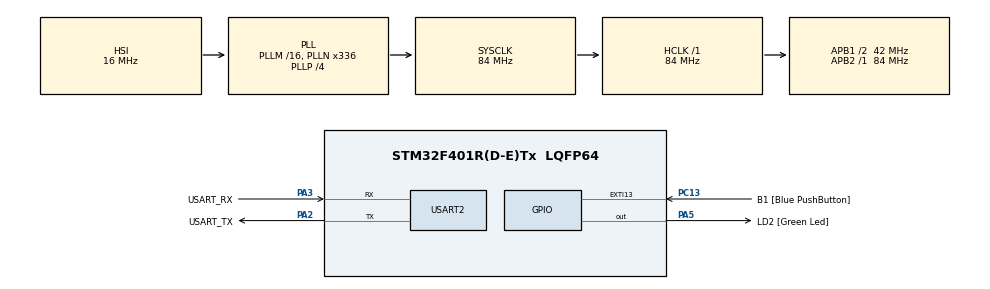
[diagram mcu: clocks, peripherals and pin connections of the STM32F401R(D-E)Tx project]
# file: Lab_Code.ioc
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Mcu.Family=STM32F4
Mcu.Name=STM32F401R(D-E)Tx
Mcu.Package=LQFP64
NVIC.PriorityGroup=NVIC_PRIORITYGROUP_0
PA13.GPIO_Label=TMS
PA13.Mode=Serial_Wire
PA13.Signal=SYS_JTMS-SWDIO
PA14.GPIO_Label=TCK
PA14.Mode=Serial_Wire
PA14.Signal=SYS_JTCK-SWCLK
PA2.GPIO_Label=USART_TX
PA2.GPIO_Mode=GPIO_MODE_AF_PP
PA2.GPIO_PuPd=GPIO_NOPULL
PA2.GPIO_Speed=GPIO_SPEED_FREQ_LOW
PA2.Mode=Asynchronous
PA2.Signal=USART2_TX
PA3.GPIO_Label=USART_RX
PA3.GPIO_Mode=GPIO_MODE_AF_PP
PA3.GPIO_PuPd=GPIO_NOPULL
PA3.GPIO_Speed=GPIO_SPEED_FREQ_LOW
PA3.Mode=Asynchronous
PA3.Signal=USART2_RX
PA5.GPIO_Label=LD2 [Green Led]
PA5.GPIO_Mode=GPIO_MODE_OUTPUT_PP
PA5.GPIO_PuPd=GPIO_NOPULL
PA5.GPIO_Speed=GPIO_SPEED_FREQ_LOW
PA5.Signal=GPIO_Output
PB3.GPIO_Label=SWO
PB3.Signal=SYS_JTDO-SWO
PC13-ANTI_TAMP.GPIO_Label=B1 [Blue PushButton]
PC13-ANTI_TAMP.GPIO_ModeDefaultEXTI=GPIO_MODE_IT_FALLING
PC13-ANTI_TAMP.GPIO_PuPd=GPIO_NOPULL
PC13-ANTI_TAMP.Signal=GPXTI13
PC14-OSC32_IN.Mode=LSE-External-Oscillator
PC14-OSC32_IN.Signal=RCC_OSC32_IN
PC15-OSC32_OUT.Mode=LSE-External-Oscillator
PC15-OSC32_OUT.Signal=RCC_OSC32_OUT
PH0\ -\ OSC_IN.Mode=HSE-External-Clock-Source
PH0\ -\ OSC_IN.Signal=RCC_OSC_IN
PH1\ -\ OSC_OUT.Mode=HSE-External-Clock-Source
PH1\ -\ OSC_OUT.Signal=RCC_OSC_OUT
ProjectManager.HeapSize=0x200
ProjectManager.StackSize=0x400
ProjectManager.TargetToolchain=STM32CubeIDE
RCC.48MHZClocksFreq_Value=48000000
RCC.AHBFreq_Value=84000000
RCC.APB1CLKDivider=RCC_HCLK_DIV2
RCC.APB1Freq_Value=42000000
RCC.APB1TimFreq_Value=84000000
RCC.APB2Freq_Value=84000000
RCC.APB2TimFreq_Value=84000000
RCC.CortexFreq_Value=84000000
RCC.HCLKFreq_Value=84000000
RCC.HSE_VALUE=8000000
RCC.HSI_VALUE=16000000
RCC.PLLN=336
RCC.PLLP=RCC_PLLP_DIV4
RCC.PLLQ=7
RCC.SYSCLKFreq_VALUE=84000000
RCC.SYSCLKSource=RCC_SYSCLKSOURCE_PLLCLK
RCC.VCOOutputFreq_Value=336000000
USART2.VirtualMode=VM_ASYNC
board=NUCLEO-F401RE

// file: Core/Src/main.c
/* USER CODE BEGIN Header */
/**
  ******************************************************************************
  * @file           : main.c
  * @brief          : Main program body
  ******************************************************************************
  * @attention
  *
  * Copyright (c) 2024 STMicroelectronics.
  * All rights reserved.
  *
  * This software is licensed under terms that can be found in the LICENSE file
  * in the root directory of this software component.
  * If no LICENSE file comes with this software, it is provided AS-IS.
  *
  ******************************************************************************
  */
/* USER CODE END Header */
#include "main.h"
#include <stdio.h>

UART_HandleTypeDef huart2;

void SystemClock_Config(void);
static void MX_GPIO_Init(void);
static void MX_USART2_UART_Init(void);

/* USER CODE BEGIN 0 */
int __io_putchar(int ch)
{
HAL_UART_Transmit(&huart2,(uint8_t*)&ch,1,HAL_MAX_DELAY);
return ch;
}

void jumpAssembly(void* fcn)
{
__asm("MOV PC, R0");
}

void print_continuously(){
	while(1){
		printf("Hello, PC\r\n");
	}
}

void print_one(void){
	__asm("SVC #1");
}

void print_two(void){
	__asm("SVC #2");
}

void print_thread1_again(void *args)
{
while(1)
{
printf("Thread 1\r\n");
osYield();
}
}

void print_thread2_again(void *args)
{

while(1)
{
printf("Thread 2\r\n");
osYield();
}
}

void thread_function_1(void *args)
{
	while(1){
		printf("The R0 value is 0x%08x\r\n", args);
		osYield();
	}

}

typedef struct test{
	uint32_t add;
	uint32_t multiply;
}alter_global_var;

uint32_t global_var = 0;
void yielding_thread(void*args){
	alter_global_var  inputs = *(alter_global_var*) args;
	while(1){
		global_var += inputs.add;
		global_var *= inputs.multiply;
      osYield();
	}
}
void pre_emptive_thread(void*args){
	while(1){
			printf("%d\r\n",global_var);
		}
}

/* USER CODE END 0 */

int main(void)
{

  /* MCU Configuration--------------------------------------------------------*/

  /* Reset of all peripherals, Initializes the Flash interface and the Systick. */
  HAL_Init();

  /* Configure the system clock */
  SystemClock_Config();
  /* Initialize all configured peripherals */
  MX_GPIO_Init();
  MX_USART2_UART_Init();
  /* USER CODE BEGIN 2 */
  //char m = 'm';
    //HAL_UART_Transmit(&huart2,&m,1,HAL_MAX_DELAY	);
    //printf("Hello, world!\r\n");
  alter_global_var alter;
  alter.add =5;
  alter.multiply= 2;
  osKernelInitialize();
  //bool a = osCreateThread(print_thread1_again);
  //bool b = osCreateThread(print_thread2_again);
  bool c = osCreateThread(yielding_thread,&alter);
  bool d = osCreateThreadWithDeadline(pre_emptive_thread, 20`00);
  osKernelStart();

   // __set_PSP(PSP_VAL);
  //  __set_CONTROL((uint32_t)2);
  // printf("MSP Init is: %p\r\n",MSP_INIT_VAL);
    //print_continuously();
    //jumpAssembly((void*)print_continuously);
   //print_one();
  //  print_two();
  /* USER CODE END 2 */

  /* Infinite loop */
  while (1)
  {

  }
}

void SystemClock_Config(void)
{
  RCC_OscInitTypeDef RCC_OscInitStruct = {0};
  RCC_ClkInitTypeDef RCC_ClkInitStruct = {0};

  /** Configure the main internal regulator output voltage
  */
  __HAL_RCC_PWR_CLK_ENABLE();
  __HAL_PWR_VOLTAGESCALING_CONFIG(PWR_REGULATOR_VOLTAGE_SCALE2);

  /** Initializes the RCC Oscillators according to the specified parameters
  * in the RCC_OscInitTypeDef structure.
  */
  RCC_OscInitStruct.OscillatorType = RCC_OSCILLATORTYPE_HSI;
  RCC_OscInitStruct.HSIState = RCC_HSI_ON;
  RCC_OscInitStruct.HSICalibrationValue = RCC_HSICALIBRATION_DEFAULT;
  RCC_OscInitStruct.PLL.PLLState = RCC_PLL_ON;
  RCC_OscInitStruct.PLL.PLLSource = RCC_PLLSOURCE_HSI;
  RCC_OscInitStruct.PLL.PLLM = 16;
  RCC_OscInitStruct.PLL.PLLN = 336;
  RCC_OscInitStruct.PLL.PLLP = RCC_PLLP_DIV4;
  RCC_OscInitStruct.PLL.PLLQ = 7;
  if (HAL_RCC_OscConfig(&RCC_OscInitStruct) != HAL_OK)
  {
    Error_Handler();
  }

  /** Initializes the CPU, AHB and APB buses clocks
  */
  RCC_ClkInitStruct.ClockType = RCC_CLOCKTYPE_HCLK|RCC_CLOCKTYPE_SYSCLK
                              |RCC_CLOCKTYPE_PCLK1|RCC_CLOCKTYPE_PCLK2;
  RCC_ClkInitStruct.SYSCLKSource = RCC_SYSCLKSOURCE_PLLCLK;
  RCC_ClkInitStruct.AHBCLKDivider = RCC_SYSCLK_DIV1;
  RCC_ClkInitStruct.APB1CLKDivider = RCC_HCLK_DIV2;
  RCC_ClkInitStruct.APB2CLKDivider = RCC_HCLK_DIV1;

  if (HAL_RCC_ClockConfig(&RCC_ClkInitStruct, FLASH_LATENCY_2) != HAL_OK)
  {
    Error_Handler();
  }
}

static void MX_USART2_UART_Init(void)
{

  huart2.Instance = USART2;
  huart2.Init.BaudRate = 115200;
  huart2.Init.WordLength = UART_WORDLENGTH_8B;
  huart2.Init.StopBits = UART_STOPBITS_1;
  huart2.Init.Parity = UART_PARITY_NONE;
  huart2.Init.Mode = UART_MODE_TX_RX;
  huart2.Init.HwFlowCtl = UART_HWCONTROL_NONE;
  huart2.Init.OverSampling = UART_OVERSAMPLING_16;
  if (HAL_UART_Init(&huart2) != HAL_OK)
  {
    Error_Handler();
  }

}

static void MX_GPIO_Init(void)
{
  GPIO_InitTypeDef GPIO_InitStruct = {0};

  /* GPIO Ports Clock Enable */
  __HAL_RCC_GPIOC_CLK_ENABLE();
  __HAL_RCC_GPIOH_CLK_ENABLE();
  __HAL_RCC_GPIOA_CLK_ENABLE();
  __HAL_RCC_GPIOB_CLK_ENABLE();

  /*Configure GPIO pin Output Level */
  HAL_GPIO_WritePin(LD2_GPIO_Port, LD2_Pin, GPIO_PIN_RESET);

  /*Configure GPIO pin : B1_Pin */
  GPIO_InitStruct.Pin = B1_Pin;
  GPIO_InitStruct.Mode = GPIO_MODE_IT_FALLING;
  GPIO_InitStruct.Pull = GPIO_NOPULL;
  HAL_GPIO_Init(B1_GPIO_Port, &GPIO_InitStruct);

  /*Configure GPIO pin : LD2_Pin */
  GPIO_InitStruct.Pin = LD2_Pin;
  GPIO_InitStruct.Mode = GPIO_MODE_OUTPUT_PP;
  GPIO_InitStruct.Pull = GPIO_NOPULL;
  GPIO_InitStruct.Speed = GPIO_SPEED_FREQ_LOW;
  HAL_GPIO_Init(LD2_GPIO_Port, &GPIO_InitStruct);

}

void Error_Handler(void)
{
  __disable_irq();
  while (1)
  {
  }
}
